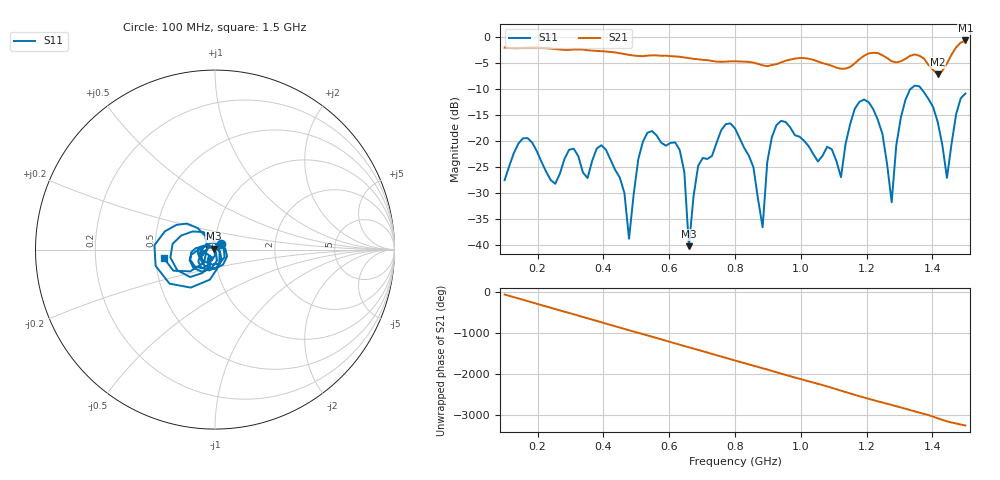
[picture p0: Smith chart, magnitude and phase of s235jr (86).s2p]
! NanoVNA-App
! Date: 2025-09-25 15:04:50
! Start: 100MHz Stop: 1,5GHz Points: 101
! S-Parameter data: F S11 S21 S12 S22
# Hz S RI R 50
!  Frequency  S11_Real  S11_Imag  S21_Real  S21_Imag  S12_Real  S12_Imag  S22_Real  S22_Imag
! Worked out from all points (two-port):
!   101 points, 100 MHz to 1.5 GHz, reference 50 ohm
!   highest |S21| = -0.60 dB at 1.5 GHz (marker M1); lowest = -7.1 dB at 1.416 GHz (marker M2)
!   |S21| within 3 dB of the highest: start of sweep to 511.8 MHz; 523.1 MHz to 600.9 MHz (77.78 MHz wide, 13.8 % of centre) (the widest 2 of 5)
!   lowest |S11| = -40.2 dB at 660 MHz (marker M3), VSWR 1.02, Z = 49.2 + j0.553 ohm
!   |S11| at or under -10 dB: start of sweep to 1.332 GHz; 1.367 GHz to end of sweep
!   S12 and S22 are empty: the file has one direction only
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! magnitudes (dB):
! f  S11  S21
! 100 MHz  -27.5  -2.0
! 156 MHz  -19.4  -2.0
! 338 MHz  -26.0  -2.4
! 408 MHz  -21.6  -2.7
! 478 MHz  -38.7  -3.4
! 520 MHz  -20.1  -3.6
! 576 MHz  -20.3  -3.5
! 632 MHz  -21.7  -3.7
! 660 MHz  -40.2  -4.0
! 688 MHz  -24.7  -4.2
! 800 MHz  -17.5  -4.6
! 884 MHz  -36.5  -5.4
! 898 MHz  -24.0  -5.5
! 926 MHz  -16.9  -5.2
! 1.038 GHz  -22.5  -4.3
! 1.122 GHz  -26.9  -6.0
! 1.206 GHz  -12.5  -3.1
! 1.276 GHz  -31.7  -4.6
! 1.332 GHz  -10.0  -3.6
! 1.416 GHz  -16.3  -7.1
! 1.444 GHz  -27.0  -5.0
! 1.5 GHz  -10.8  -0.6
